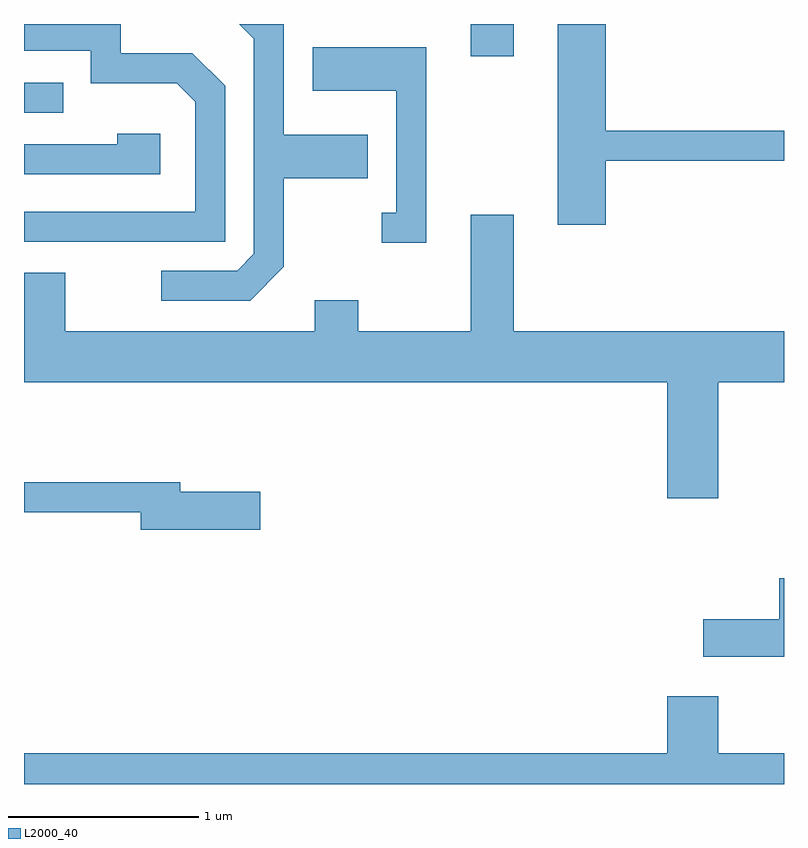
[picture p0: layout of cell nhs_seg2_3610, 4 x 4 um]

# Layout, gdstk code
import gdstk
lib = gdstk.Library(unit=1e-6, precision=1e-09)
def R(c, l, rs):  # rectangles x0, y0, x1, y1
    for r in rs: c.add(gdstk.rectangle(r[:2], r[2:], *l))
def P(c, l, *ps):  # polygons
    for p in ps: c.add(gdstk.Polygon(p, *l))
L2000_40 = (2000, 40)

nhs_seg2_3610 = lib.new_cell('nhs_seg2_3610')
R(nhs_seg2_3610, L2000_40, [(291.611,1005.336,291.818,1005.494), (293.961,1005.631,294.189,1005.802)])
P(nhs_seg2_3610, L2000_40, [(292.669,1005.477),(292.497,1005.649),(292.119,1005.649),(292.119,1005.802),(291.611,1005.802),(291.611,1005.661),(291.961,1005.661),(291.961,1005.491),(292.414,1005.491),(292.511,1005.394),(292.511,1004.814),(291.611,1004.814),(291.611,1004.656),(292.669,1004.656)],
  [(292.979,1004.524),(292.979,1004.991),(293.419,1004.991),(293.419,1005.219),(292.979,1005.219),(292.979,1005.802),(292.743,1005.802),(292.821,1005.724),(292.821,1004.592),(292.734,1004.504),(292.333,1004.504),(292.333,1004.346),(292.802,1004.346)],
  [(294.674,1005.081),(295.611,1005.081),(295.611,1005.239),(294.674,1005.239),(294.674,1005.802),(294.421,1005.802),(294.421,1004.746),(294.674,1004.746)],
  [(293.729,1005.679),(293.131,1005.679),(293.131,1005.451),(293.571,1005.451),(293.571,1004.809),(293.493,1004.809),(293.493,1004.651),(293.729,1004.651)],
  [(292.329,1005.224),(292.101,1005.224),(292.101,1005.169),(291.611,1005.169),(291.611,1005.011),(292.329,1005.011)],
  [(295.264,1003.916),(295.611,1003.916),(295.611,1004.184),(294.189,1004.184),(294.189,1004.799),(293.961,1004.799),(293.961,1004.184),(293.369,1004.184),(293.369,1004.349),(293.141,1004.349),(293.141,1004.184),(291.829,1004.184),(291.829,1004.494),(291.611,1004.494),(291.611,1003.916),(294.996,1003.916),(294.996,1003.306),(295.264,1003.306)],
  [(292.854,1003.339),(292.434,1003.339),(292.434,1003.389),(291.611,1003.389),(291.611,1003.231),(292.226,1003.231),(292.226,1003.141),(292.854,1003.141)],
  [(295.611,1002.884),(295.586,1002.884),(295.586,1002.669),(295.186,1002.669),(295.186,1002.471),(295.611,1002.471)],
  [(295.611,1001.964),(295.264,1001.964),(295.264,1002.264),(294.996,1002.264),(294.996,1001.964),(291.611,1001.964),(291.611,1001.802),(295.611,1001.802)])

lib.write_gds('nhs_seg2_3610.gds')
